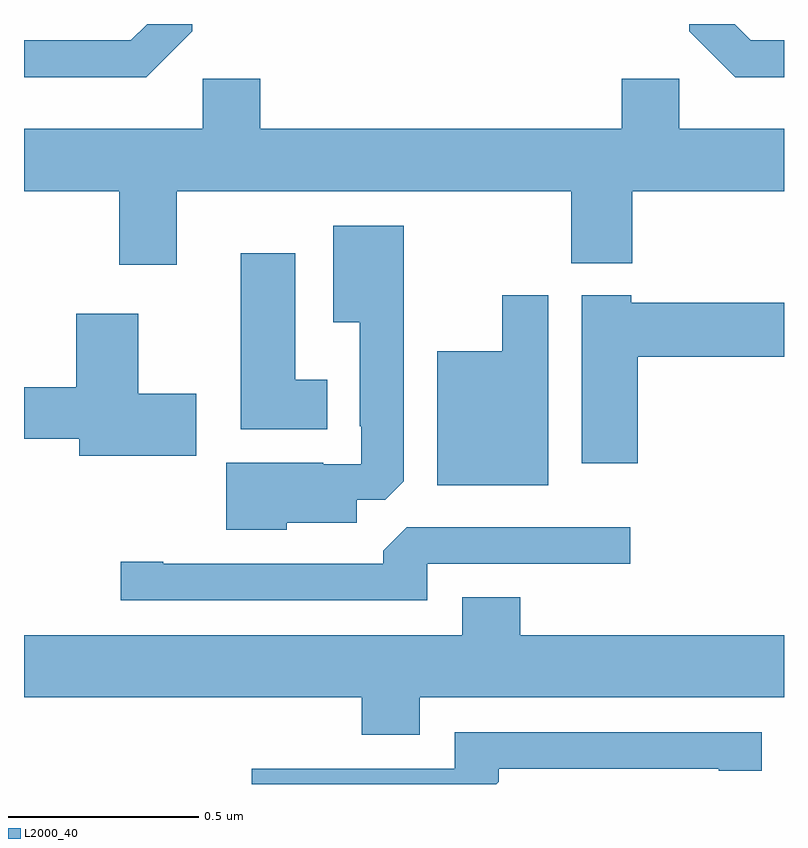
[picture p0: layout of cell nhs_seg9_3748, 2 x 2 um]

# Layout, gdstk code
import gdstk
lib = gdstk.Library(unit=1e-6, precision=1e-09)
def P(c, l, *ps):  # polygons
    for p in ps: c.add(gdstk.Polygon(p, *l))
L2000_40 = (2000, 40)

nhs_seg9_3748 = lib.new_cell('nhs_seg9_3748')
P(nhs_seg9_3748, L2000_40, [(159,1223.457),(158.913,1223.457),(158.87,1223.5),(158.751,1223.5),(158.751,1223.481),(158.872,1223.36),(159,1223.36)],
  [(157.443,1223.481),(157.443,1223.5),(157.324,1223.5),(157.281,1223.457),(157,1223.457),(157,1223.36),(157.322,1223.36)],
  [(157.402,1223.06),(158.44,1223.06),(158.44,1222.871),(158.6,1222.871),(158.6,1223.06),(159,1223.06),(159,1223.224),(158.724,1223.224),(158.724,1223.356),(158.573,1223.356),(158.573,1223.224),(157.622,1223.224),(157.622,1223.356),(157.47,1223.356),(157.47,1223.224),(157,1223.224),(157,1223.06),(157.25,1223.06),(157.25,1222.866),(157.402,1222.866)],
  [(157.692,1222.187),(157.876,1222.187),(157.876,1222.248),(157.95,1222.248),(157.999,1222.297),(157.999,1222.969),(157.814,1222.969),(157.814,1222.715),(157.883,1222.715),(157.883,1222.441),(157.887,1222.441),(157.887,1222.341),(157.787,1222.341),(157.787,1222.345),(157.532,1222.345),(157.532,1222.169),(157.692,1222.169)],
  [(157.798,1222.564),(157.714,1222.564),(157.714,1222.897),(157.571,1222.897),(157.571,1222.433),(157.798,1222.433)],
  [(158.38,1222.786),(158.258,1222.786),(158.258,1222.639),(158.087,1222.639),(158.087,1222.286),(158.38,1222.286)],
  [(158.615,1222.625),(159,1222.625),(159,1222.767),(158.598,1222.767),(158.598,1222.786),(158.468,1222.786),(158.468,1222.344),(158.615,1222.344)],
  [(157.453,1222.527),(157.3,1222.527),(157.3,1222.738),(157.138,1222.738),(157.138,1222.544),(157,1222.544),(157,1222.408),(157.145,1222.408),(157.145,1222.364),(157.453,1222.364)],
  [(158.061,1222.08),(158.596,1222.08),(158.596,1222.176),(158.007,1222.176),(157.946,1222.114),(157.946,1222.08),(157.366,1222.08),(157.366,1222.085),(157.254,1222.085),(157.254,1221.984),(158.061,1221.984)],
  [(158.041,1221.728),(159,1221.728),(159,1221.892),(158.306,1221.892),(158.306,1221.991),(158.153,1221.991),(158.153,1221.892),(157,1221.892),(157,1221.728),(157.889,1221.728),(157.889,1221.629),(158.041,1221.629)],
  [(158.249,1221.506),(158.249,1221.54),(158.828,1221.54),(158.828,1221.535),(158.941,1221.535),(158.941,1221.636),(158.133,1221.636),(158.133,1221.54),(157.599,1221.54),(157.599,1221.5),(158.243,1221.5)])

lib.write_gds('nhs_seg9_3748.gds')
